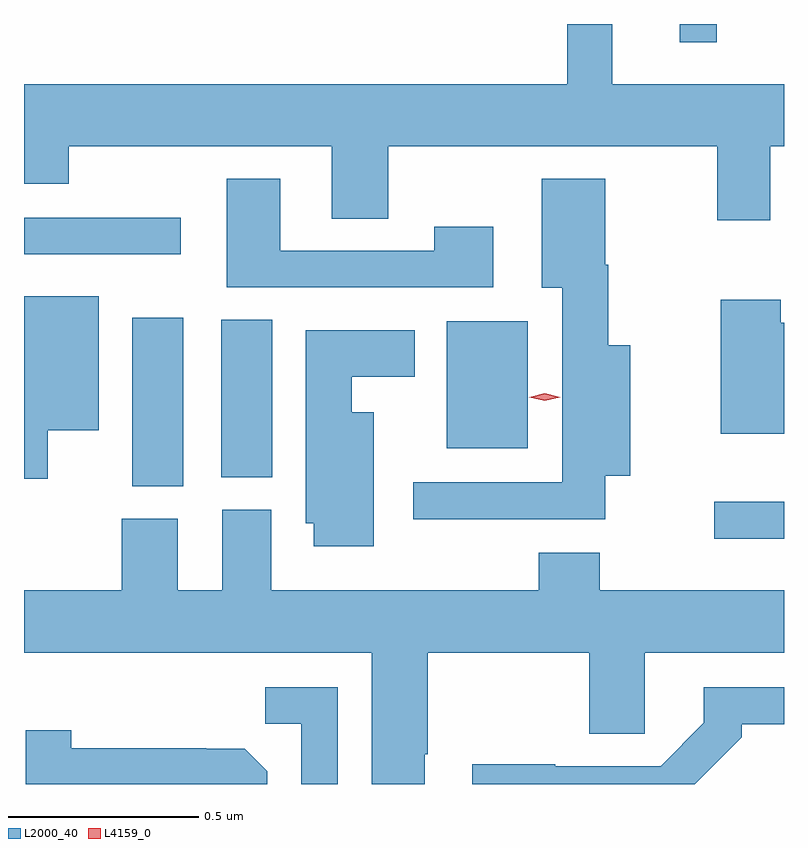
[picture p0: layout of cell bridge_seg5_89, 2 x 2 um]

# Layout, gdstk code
import gdstk
lib = gdstk.Library(unit=1e-6, precision=1e-09)
def R(c, l, rs):  # rectangles x0, y0, x1, y1
    for r in rs: c.add(gdstk.rectangle(r[:2], r[2:], *l))
def P(c, l, *ps):  # polygons
    for p in ps: c.add(gdstk.Polygon(p, *l))
L2000_40 = (2000, 40)
L4159_0 = (4159, 0)

bridge_seg5_89 = lib.new_cell('bridge_seg5_89')
R(bridge_seg5_89, L2000_40, [(123.147,887.696,123.331,887.793), (121.616,887.833,121.75,888.277), (121.85,887.857,121.984,888.272), (122.444,887.933,122.656,888.268), (121.331,888.444,121.744,888.54), (123.057,889.002,123.154,889.05)])
P(bridge_seg5_89, L2000_40, [(123.295,888.728),(123.331,888.728),(123.331,888.892),(122.879,888.892),(122.879,889.05),(122.761,889.05),(122.761,888.892),(121.331,888.892),(121.331,888.629),(121.449,888.629),(121.449,888.728),(122.141,888.728),(122.141,888.538),(122.289,888.538),(122.289,888.728),(123.155,888.728),(123.155,888.534),(123.295,888.534)],
  [(122.86,887.861),(122.926,887.861),(122.926,888.205),(122.868,888.205),(122.868,888.416),(122.86,888.416),(122.86,888.643),(122.693,888.643),(122.693,888.356),(122.747,888.356),(122.747,887.844),(122.355,887.844),(122.355,887.747),(122.86,887.747)],
  [(122.566,888.517),(122.41,888.517),(122.41,888.453),(122.005,888.453),(122.005,888.643),(121.865,888.643),(121.865,888.357),(122.566,888.357)],
  [(121.393,887.981),(121.528,887.981),(121.528,888.334),(121.331,888.334),(121.331,887.853),(121.393,887.853)],
  [(123.331,888.264),(123.322,888.264),(123.322,888.325),(123.164,888.325),(123.164,887.972),(123.331,887.972)],
  [(122.251,888.028),(122.194,888.028),(122.194,888.122),(122.359,888.122),(122.359,888.244),(122.072,888.244),(122.072,887.736),(122.093,887.736),(122.093,887.676),(122.251,887.676)],
  [(122.386,887.128),(122.394,887.128),(122.394,887.396),(122.818,887.396),(122.818,887.182),(122.964,887.182),(122.964,887.396),(123.331,887.396),(123.331,887.56),(122.846,887.56),(122.846,887.659),(122.686,887.659),(122.686,887.56),(121.981,887.56),(121.981,887.772),(121.853,887.772),(121.853,887.56),(121.735,887.56),(121.735,887.748),(121.588,887.748),(121.588,887.56),(121.331,887.56),(121.331,887.396),(122.246,887.396),(122.246,887.05),(122.386,887.05)],
  [(123.22,887.173),(123.22,887.207),(123.331,887.207),(123.331,887.304),(123.12,887.304),(123.12,887.211),(123.006,887.097),(122.729,887.097),(122.729,887.102),(122.51,887.102),(122.51,887.05),(123.096,887.05)],
  [(122.157,887.304),(121.966,887.304),(121.966,887.209),(122.061,887.209),(122.061,887.05),(122.157,887.05)],
  [(121.971,887.084),(121.912,887.143),(121.811,887.143),(121.811,887.144),(121.455,887.144),(121.455,887.191),(121.336,887.191),(121.336,887.05),(121.971,887.05)])
P(bridge_seg5_89, L4159_0, [(122.701,888.058),(122.661,888.068),(122.661,888.068),(122.661,888.068),(122.701,888.078),(122.742,888.068),(122.742,888.068),(122.742,888.068)])

lib.write_gds('bridge_seg5_89.gds')
